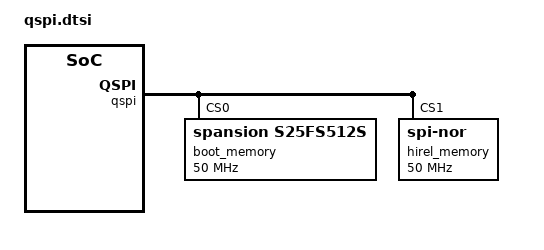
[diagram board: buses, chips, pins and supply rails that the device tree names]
&qspi {
	status = "okay";
	num-cs = <2>;

	/delete-property/ is-stacked;
	/delete-property/ is-dual;

	/delete-property/ xlnx,connection-mode;
	/delete-property/ xlnx,qspi-mode;
	xlnx,connection-mode = <0>;
	xlnx,qspi-mode = <0>;

	boot_memory: flash@0 {
		#address-cells = <1>;
		#size-cells = <1>;
		compatible = "spansion,s25fs512s", "jedec,spi-nor";
		spi-max-frequency = <50000000>;
		reg = <0>;
	};

	hirel_memory: flash@1 {
		#address-cells = <1>;
		#size-cells = <1>;
		compatible = "jedec,spi-nor";
		spi-max-frequency = <50000000>;
		reg = <1>;
	};
};
